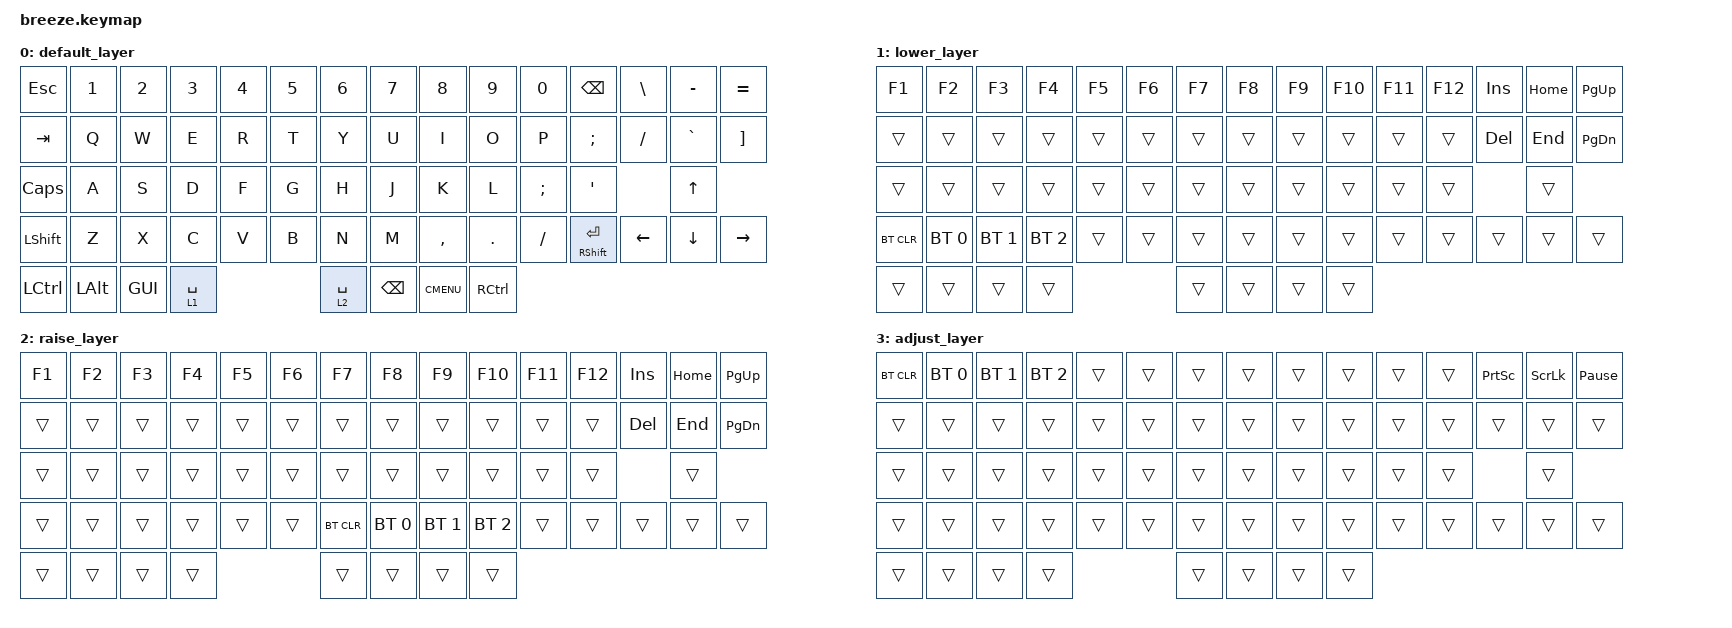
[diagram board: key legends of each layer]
/*
 * Copyright (c) 2022 The ZMK Contributors
 *
 * SPDX-License-Identifier: MIT
 */

#include <behaviors.dtsi>
#include <dt-bindings/zmk/keys.h>
#include <dt-bindings/zmk/bt.h>
#include <dt-bindings/zmk/ext_power.h>

/ {
	keymap {
		compatible = "zmk,keymap";

		default_layer {

// Ref: https://zmkfirmware.dev/docs/codes/

// ----------------------------------------------------------------------------------------------------------------------------------
// |  ESC  |  1  |  2  |  3    |  4   |  5   |                               |  6   |  7    |  8    |  9   |   0   | BKSP | |  \  |  -   | PG UP|
// |  TAB  |  Q  |  W  |  E    |  R   |  T   |                               |  Y   |  U    |  I    |  O   |   P   |  ;   | |  /  |  `  | PG DN|
// |  CTRL |  A  |  S  |  D    |  F   |  G   |                               |  H   |  J    |  K    |  L   |   ;   |  '   | |     |  UP  |      |
// |  SHFT |  Z  |  X  |  C    |  V   |  B   |                               |  N   |  M    |  ,    |  .   |   /   |  RET | |  L  |  DN  |  R   |
//                     | CTRL | ALT  | GUI  | LOWER/SPACE |    | RAISE/SPACE | BKSP |  DEL  | CTRL |
			bindings = <
&kp ESC &kp N1 &kp N2 &kp N3 &kp N4 &kp N5         	&kp N6 &kp N7 &kp N8    &kp N9   &kp N0    &kp BSPC                &kp BSLH &kp MINUS &kp EQUAL
&kp TAB &kp Q &kp W &kp E &kp R &kp T       	   	&kp Y  &kp U  &kp I     &kp O    &kp P     &kp SEMI                &kp FSLH &kp GRAVE &kp RBKT
&kp CAPS &kp A &kp S &kp D &kp F &kp G      	   	&kp H  &kp J  &kp K     &kp L    &kp SEMI  &kp APOS                         &kp UP 
&kp LSHFT &kp Z &kp X &kp C &kp V &kp B        	   	&kp N  &kp M  &kp COMMA &kp DOT  &kp FSLH  &mt RSHFT RET            &kp LEFT &kp DOWN  &kp RIGHT
&kp LCTRL &kp LALT &kp GUI 	&lt 1 SPACE      &lt 2 SPACE   &kp BSPC &kp K_CMENU &kp RCTRL
			>;
		};

		lower_layer {
// ---------------------------------------------------------------------------------------------------------------------------------- 
// |   F1  |  F2  |  F3 |  F4  |  F5   |  F6  |                   |  F7  |  F8  |  F9  |  F10 |  F11  |  F12  | |   =   | PSCRN|      | 
// |CMD-TAB|      |     |      |       |  [   |                   |  ]   |      |      |      |       |       | |       | Mute | Play | 
// |       | CMD-A|     |      |       |      |                   |  L   |  DN  |  UP  |  R   |       |       | |       | Vol+ |      | 
// |  CAPS | CMD-Z| CUT | COPY | PASTE |  {   |                   |  }   |      |      |      |       |       | | Prev  | Vol- | Next | 
//                      |      |       |      |        |  |  RET  |      |  INS |ADJUST|
			bindings = <
&kp F1 &kp F2 &kp F3 &kp F4 &kp F5 &kp F6        &kp F7 &kp F8 &kp F9 &kp F10 &kp F11 &kp F12        &kp INS &kp HOME &kp PG_UP
&trans &trans &trans &trans &trans &trans        &trans &trans &trans &trans &trans &trans           &kp DEL &kp END &kp PG_DN
&trans &trans &trans &trans &trans &trans        &trans &trans &trans &trans &trans &trans                     &trans
&bt BT_CLR &bt BT_SEL 0 &bt BT_SEL 1 &bt BT_SEL 2 &trans &trans        &trans &trans &trans &trans &trans &trans        &trans &trans &trans
        &trans &trans &trans &trans        &trans &trans &trans &trans        
			>;
		};

		raise_layer {
// ---------------------------------------------------------------------------------------------------------------------------------- 
// | ESC |      |      |      |      |        |                   |      |      |      |      |       |       | |     |      |      | 
// |     |      |      |      |      |        |                   |      |      |      |      |       |       | |     |      |      | 
// |     |CTRL-A|      |      |      |        |                   | HOME | PGDN | PGUP | END  |       |       | |     |      |      | 
// |     |CTRL-Z|CTRL-X|CTRL-C|CTRL-V|        |                   |      |      |      |      |       |       | |     |      |      | 
//                     |      |      |        |  BKSP  |  |       |      |      |      |
			bindings = <
&kp F1 &kp F2 &kp F3 &kp F4 &kp F5 &kp F6        &kp F7 &kp F8 &kp F9 &kp F10 &kp F11 &kp F12        &kp INS &kp HOME &kp PG_UP
&trans &trans &trans &trans &trans &trans        &trans &trans &trans &trans &trans &trans        &kp DEL &kp END &kp PG_DN
&trans &trans &trans &trans &trans &trans        &trans &trans &trans &trans &trans &trans        &trans
&trans &trans &trans &trans &trans &trans        &bt BT_CLR &bt BT_SEL 0 &bt BT_SEL 1 &bt BT_SEL 2 &trans &trans        &trans &trans &trans
        &trans &trans &trans &trans        &trans &trans &trans &trans
			>;
		};
		
		adjust_layer {
// ---------------------------------------------------------------------------------------------------------------------------------- 
// | BT1 | BT2 | BT3 | BT4  |      | BT_CLR |                   |      |       |       |      |       |       | |     |      |      | 
// |     |     |     |      |      |        |                   |      |       |       |      |       |       | |     |      |      | 
// |     |     |     |      |      |        |                   |      |       |       |      |       |       | |     |      |      | 
// |     |     |     |      |      |        |                   |      |       |       |      |       |       | |     |      |      | 
//                   |      |      |        |        |  |       |      |       |       |
			bindings = <
&bt BT_CLR &bt BT_SEL 0 &bt BT_SEL 1 &bt BT_SEL 2 &trans &trans        &trans &trans &trans &trans &trans &trans        &kp PSCRN &kp SLCK &kp PAUSE_BREAK
&trans &trans &trans &trans &trans &trans        &trans &trans &trans &trans &trans &trans        &trans &trans &trans
&trans &trans &trans &trans &trans &trans        &trans &trans &trans &trans &trans &trans        &trans
&trans &trans &trans &trans &trans &trans        &trans &trans &trans &trans &trans &trans        &trans &trans &trans
        &trans &trans &trans &trans        &trans &trans &trans &trans
			>;
		};
	};
};
